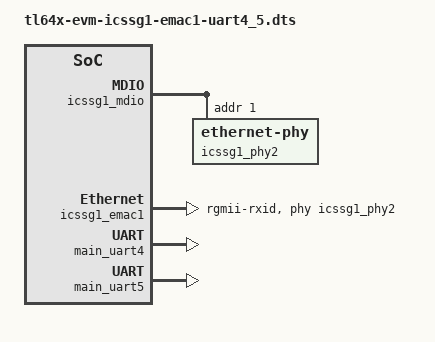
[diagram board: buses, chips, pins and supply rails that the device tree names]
/*
 * Copyright (C) 2015 GuangZhou Tronlong co., LTD - http://www.tronlong.com
 *
 * This program is free software; you can redistribute it and/or modify
 * it under the terms of the GNU General Public License version 2 as
 * published by the Free Software Foundation.
 */

/dts-v1/;

#include "tl64x-evm.dts"

/ {
	aliases {
		ethernet5 = &icssg1_emac1;
	};
};

&main_pmx0 {
        icssg1_rgmii2_pins_default: icssg1-rgmii2-pins-default {
                pinctrl-single,pins = <
                        AM64X_IOPAD(0x0108, PIN_INPUT, 2) /* (W11) PRG1_PRU1_GPO0.RGMII2_RD0 */
                        AM64X_IOPAD(0x010c, PIN_INPUT, 2) /* (V11) PRG1_PRU1_GPO1.RGMII2_RD1 */
                        AM64X_IOPAD(0x0110, PIN_INPUT, 2) /* (AA12) PRG1_PRU1_GPO2.RGMII2_RD2 */
                        AM64X_IOPAD(0x0114, PIN_INPUT, 2) /* (Y12) PRG1_PRU1_GPO3.RGMII2_RD3 */
                        AM64X_IOPAD(0x0120, PIN_INPUT, 2) /* (U11) PRG1_PRU1_GPO6.RGMII2_RXC */
                        AM64X_IOPAD(0x0118, PIN_INPUT, 2) /* (W12) PRG1_PRU1_GPO4.RGMII2_RX_CTL */
                        AM64X_IOPAD(0x0134, PIN_OUTPUT, 2) /* (AA10) PRG1_PRU1_GPO11.RGMII2_TD0 */
                        AM64X_IOPAD(0x0138, PIN_OUTPUT, 2) /* (V10) PRG1_PRU1_GPO12.RGMII2_TD1 */
                        AM64X_IOPAD(0x013c, PIN_OUTPUT, 2) /* (U10) PRG1_PRU1_GPO13.RGMII2_TD2 */
                        AM64X_IOPAD(0x0140, PIN_OUTPUT, 2) /* (AA11) PRG1_PRU1_GPO14.RGMII2_TD3 */
                        AM64X_IOPAD(0x0148, PIN_OUTPUT, 2) /* (Y10) PRG1_PRU1_GPO16.RGMII2_TXC */
                        AM64X_IOPAD(0x0144, PIN_OUTPUT, 2) /* (Y11) PRG1_PRU1_GPO15.RGMII2_TX_CTL */
                >;
        };

	main_uart4_pins_default: main-uart4-pins-default {
		pinctrl-single,pins = <
			AM64X_IOPAD(0x0250, PIN_INPUT, 1) /* (A17) MCAN0_TX.UART4_RXD */
			AM64X_IOPAD(0x0254, PIN_OUTPUT, 1) /* (B17) MCAN0_RX.UART4_TXD */
		>;
	};

	main_uart5_pins_default: main-uart5-pins-default {
		pinctrl-single,pins = <
			AM64X_IOPAD(0x0258, PIN_INPUT, 5) /* (C17) MCAN1_TX.UART5_RXD */
			AM64X_IOPAD(0x025c, PIN_OUTPUT, 5) /* (D17) MCAN1_RX.UART5_TXD */
		>;
	};
};

&cpsw_port2 {
	status = "disabled";
};

&cpsw3g {
	pinctrl-names = "default";
	pinctrl-0 = <&mdio1_pins_default &rgmii1_pins_default>;
};

&icssg1_mdio {
	icssg1_phy2: ethernet-phy@1 {
		reg = <1>;
	};
};

&icssg1_eth {
	pinctrl-names = "default";
	pinctrl-0 = <&icssg1_rgmii1_pins_default &icssg1_rgmii2_pins_default>;

	icssg1_emac1: ethernet-mii1 {
		syscon-rgmii-delay = <&main_conf 0x4114>;
		/* Filled in by bootloader */
		local-mac-address = [00 00 00 00 00 00];
	};
};

&icssg1_emac1 {
        status = "okay";
        phy-handle = <&icssg1_phy2>;
        phy-mode = "rgmii-rxid";
};

&main_mcan0 {
	status = "disabled";
};

&main_mcan1 {
	status = "disabled";
};

&main_uart4 {
	status = "okay";
	pinctrl-names = "default";
	pinctrl-0 = <&main_uart4_pins_default>;
};

&main_uart5 {
	status = "okay";
	pinctrl-names = "default";
	pinctrl-0 = <&main_uart5_pins_default>;
};
